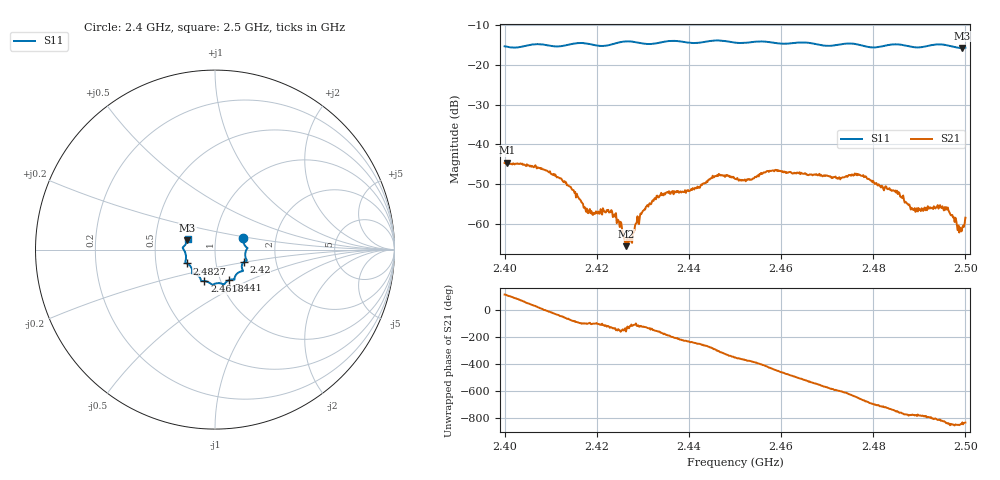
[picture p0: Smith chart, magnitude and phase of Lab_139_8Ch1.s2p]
# Hz S RI R 50
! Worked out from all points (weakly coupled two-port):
!   601 points, 2.4 GHz to 2.5 GHz, reference 50 ohm
!   highest |S21| = -44.58 dB at 2.4005 GHz (marker M1); lowest = -65.6 dB at 2.4263 GHz (marker M2)
!   lowest |S11| = -15.8 dB at 2.4993 GHz (marker M3), VSWR 1.39, Z = 36.5 + j3.84 ohm
!   |S11| at or under -10 dB: start of sweep to end of sweep
!   S12 and S22 are empty: the file has one direction only
!   S11 on the Smith chart (normalised r, x): 2.4 GHz: 1.36, +0.18; 2.42 GHz: 1.36, -0.20; 2.441 GHz: 1.10, -0.39; 2.4618 GHz: 0.84, -0.30; 2.4827 GHz: 0.72, -0.12; 2.5 GHz: 0.73, +0.09
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2.4e9  0.1585 0.0629  -0.0028 0.0051  0 0  0 0
2.4005e9  0.1578 0.0576  -0.00226 0.00545  0 0  0 0
2.409333e9  0.1755 -0.000662  0.0046 -0.000328  0 0  0 0
2.416667e9  0.1771 -0.061  -0.000262 -0.00187  0 0  0 0
2.42e9  0.1597 -0.0701  -7.5e-05 -0.00137  0 0  0 0
2.423667e9  0.1504 -0.1037  -0.000842 -0.00096  0 0  0 0
2.426333e9  0.1565 -0.1186  -0.000483 -0.000208  0 0  0 0
2.427333e9  0.1551 -0.1196  -0.000281 -0.000608  0 0  0 0
2.43e9  0.1365 -0.1248  -0.000774 -0.00124  0 0  0 0
2.433333e9  0.1113 -0.1509  -0.00198 -0.000828  0 0  0 0
2.441e9  0.0788 -0.1696  -0.0014 0.00235  0 0  0 0
2.446167e9  0.0495 -0.1955  0.00192 0.00366  0 0  0 0
2.45e9  0.0284 -0.1874  0.00363 0.000671  0 0  0 0
2.461833e9  -0.0593 -0.1754  -0.00229 -0.00385  0 0  0 0
2.466667e9  -0.0789 -0.1683  -0.00416 -0.000345  0 0  0 0
2.4765e9  -0.1274 -0.1276  0.00126 0.00389  0 0  0 0
2.482667e9  -0.1559 -0.0772  0.00298 3.24e-05  0 0  0 0
2.483333e9  -0.1602 -0.0752  0.00271 -0.000448  0 0  0 0
2.488667e9  -0.1611 -0.0414  0.000791 -0.00127  0 0  0 0
2.496e9  -0.1744 0.0169  -0.000724 -0.00133  0 0  0 0
2.499333e9  -0.1539 0.0512  -0.000362 -0.000819  0 0  0 0
2.5e9  -0.1521 0.0605  -0.000503 -0.00109  0 0  0 0
